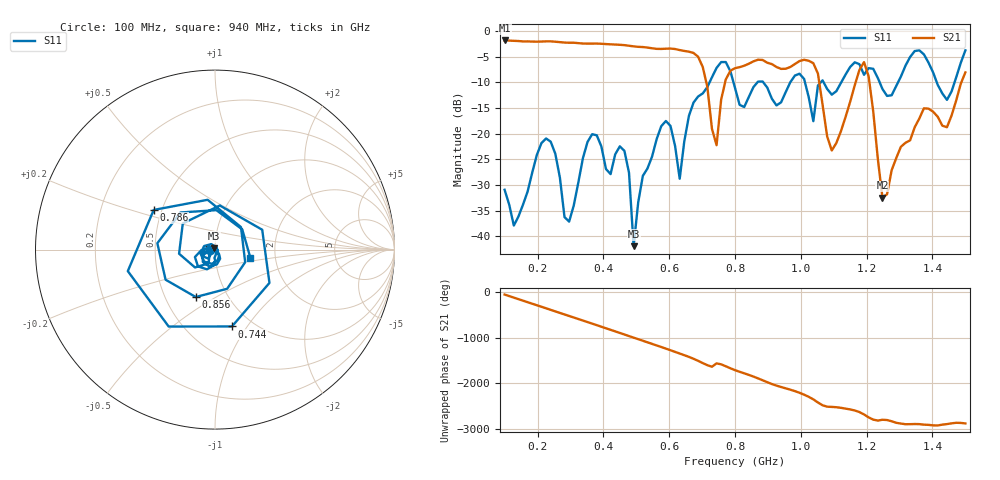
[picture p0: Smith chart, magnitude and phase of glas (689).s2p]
! NanoVNA-App
! Date: 2025-09-25 16:00:50
! Start: 100MHz Stop: 1,5GHz Points: 101
! S-Parameter data: F S11 S21 S12 S22
# Hz S RI R 50
!  Frequency  S11_Real  S11_Imag  S21_Real  S21_Imag  S12_Real  S12_Imag  S22_Real  S22_Imag
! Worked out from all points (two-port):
!   101 points, 100 MHz to 1.5 GHz, reference 50 ohm
!   highest |S21| = -1.80 dB at 100 MHz (marker M1); lowest = -32.5 dB at 1.248 GHz (marker M2)
!   |S21| within 3 dB of the highest: start of sweep to 684.6 MHz
!   lowest |S11| = -41.9 dB at 492 MHz (marker M3), VSWR 1.02, Z = 49.5 + j0.632 ohm
!   |S11| at or under -10 dB: start of sweep to 722.5 MHz; 795.5 MHz to 867.8 MHz (72.31 MHz wide, 8.69 % of centre); 886.3 MHz to 967.7 MHz (81.42 MHz wide, 8.78 % of centre) (the widest 3 of 7)
!   S12 and S22 are empty: the file has one direction only
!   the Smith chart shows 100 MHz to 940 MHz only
!   S11 on the Smith chart (normalised r, x): 100 MHz: 0.94, -0.01; 744 MHz: 0.80, -0.85; 786 MHz: 0.45, +0.24; 856 MHz: 0.71, -0.41; 940 MHz: 1.48, -0.14
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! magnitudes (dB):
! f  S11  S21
! 100 MHz  -30.9  -1.8
! 128 MHz  -37.9  -1.9
! 226 MHz  -20.9  -2.0
! 296 MHz  -37.1  -2.2
! 338 MHz  -24.7  -2.4
! 464 MHz  -23.3  -2.7
! 492 MHz  -41.9  -3.0
! 576 MHz  -18.5  -3.5
! 632 MHz  -28.8  -3.7
! 702 MHz  -12.1  -7.0
! 744 MHz  -7.2  -22.2
! 786 MHz  -7.8  -7.7
! 800 MHz  -11.0  -7.2
! 856 MHz  -10.9  -5.9
! 940 MHz  -13.9  -7.3
! 996 MHz  -8.3  -5.8
! 1.038 GHz  -17.5  -6.2
! 1.094 GHz  -12.4  -23.3
! 1.192 GHz  -8.5  -6.0
! 1.248 GHz  -11.3  -32.5
! 1.276 GHz  -12.5  -27.1
! 1.5 GHz  -3.7  -8.0
